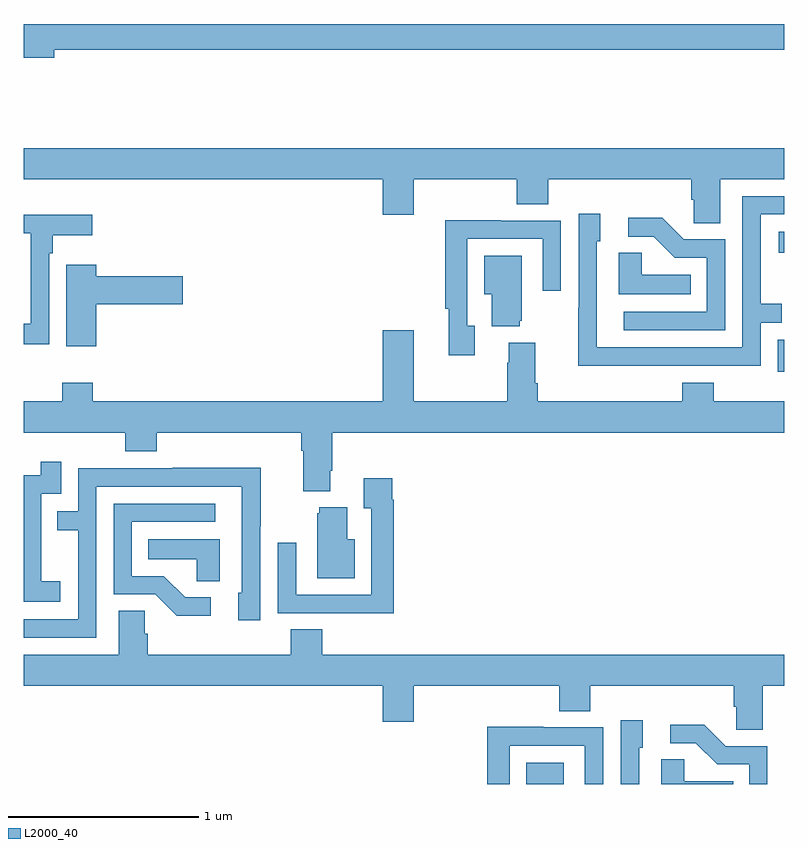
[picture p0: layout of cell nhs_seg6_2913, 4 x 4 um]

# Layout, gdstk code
import gdstk
lib = gdstk.Library(unit=1e-6, precision=1e-09)
def R(c, l, rs):  # rectangles x0, y0, x1, y1
    for r in rs: c.add(gdstk.rectangle(r[:2], r[2:], *l))
def P(c, l, *ps):  # polygons
    for p in ps: c.add(gdstk.Polygon(p, *l))
L2000_40 = (2000, 40)

nhs_seg6_2913 = lib.new_cell('nhs_seg6_2913')
R(nhs_seg6_2913, L2000_40, [(285.644,933.5,285.841,933.613), (286.965,935.667,287,935.835), (286.971,936.293,287,936.403)])
P(nhs_seg6_2913, L2000_40, [(283.162,937.36),(287,937.36),(287,937.496),(283,937.496),(283,937.318),(283.162,937.318)],
  [(286.663,936.68),(287,936.68),(287,936.844),(283,936.844),(283,936.68),(284.888,936.68),(284.888,936.492),(285.052,936.492),(285.052,936.68),(285.593,936.68),(285.593,936.547),(285.758,936.547),(285.758,936.68),(286.511,936.68),(286.511,936.571),(286.524,936.571),(286.524,936.448),(286.663,936.448)],
  [(286.379,935.7),(286.875,935.7),(286.875,935.925),(286.985,935.925),(286.985,936.026),(286.875,936.026),(286.875,936.495),(287,936.495),(287,936.591),(286.779,936.591),(286.779,935.796),(286.014,935.796),(286.014,936.354),(286.033,936.354),(286.033,936.499),(285.918,936.499),(285.918,936.005),(285.916,936.005),(285.916,935.699),(286.379,935.699)],
  [(283.134,936.29),(283.154,936.29),(283.154,936.386),(283.36,936.386),(283.36,936.494),(283,936.494),(283,936.396),(283.038,936.396),(283.038,935.919),(283,935.919),(283,935.811),(283.134,935.811)],
  [(286.689,936.363),(286.47,936.363),(286.357,936.476),(286.179,936.476),(286.179,936.378),(286.313,936.378),(286.424,936.267),(286.593,936.267),(286.593,935.982),(286.155,935.982),(286.155,935.886),(286.689,935.886)],
  [(285.373,935.91),(285.333,935.91),(285.333,936.366),(285.729,936.366),(285.729,936.093),(285.825,936.093),(285.825,936.462),(285.509,936.462),(285.509,936.464),(285.217,936.464),(285.217,935.998),(285.236,935.998),(285.236,935.754),(285.373,935.754)],
  [(286.508,936.178),(286.251,936.178),(286.251,936.293),(286.13,936.293),(286.13,936.074),(286.508,936.074)],
  [(285.608,935.937),(285.619,935.937),(285.619,936.277),(285.422,936.277),(285.422,936.074),(285.461,936.074),(285.461,935.906),(285.608,935.906)],
  [(283.382,936.023),(283.837,936.023),(283.837,936.17),(283.382,936.17),(283.382,936.229),(283.223,936.229),(283.223,935.802),(283.382,935.802)],
  [(284.611,935.146),(284.624,935.146),(284.624,935.348),(287,935.348),(287,935.512),(286.628,935.512),(286.628,935.611),(286.463,935.611),(286.463,935.512),(285.704,935.512),(285.704,935.608),(285.691,935.608),(285.691,935.821),(285.551,935.821),(285.551,935.714),(285.544,935.714),(285.544,935.512),(285.052,935.512),(285.052,935.887),(284.888,935.887),(284.888,935.512),(283.364,935.512),(283.364,935.611),(283.204,935.611),(283.204,935.512),(283,935.512),(283,935.348),(283.535,935.348),(283.535,935.249),(283.7,935.249),(283.7,935.348),(284.459,935.348),(284.459,935.252),(284.471,935.252),(284.471,935.039),(284.611,935.039)],
  [(283.192,934.567),(283.094,934.567),(283.094,934.796),(283.092,934.796),(283.092,935.025),(283.197,935.025),(283.197,935.194),(283.089,935.194),(283.089,935.124),(283,935.124),(283,934.457),(283.192,934.457)],
  [(283.383,935.064),(284.148,935.064),(284.148,934.506),(284.129,934.506),(284.129,934.362),(284.244,934.362),(284.244,934.855),(284.247,934.855),(284.247,935.162),(283.783,935.162),(283.783,935.16),(283.287,935.16),(283.287,934.935),(283.177,934.935),(283.177,934.834),(283.287,934.834),(283.287,934.365),(283,934.365),(283,934.269),(283.383,934.269)],
  [(284.945,934.994),(284.938,934.994),(284.938,935.107),(284.789,935.107),(284.789,934.951),(284.829,934.951),(284.829,934.494),(284.433,934.494),(284.433,934.768),(284.337,934.768),(284.337,934.398),(284.653,934.398),(284.653,934.397),(284.945,934.397)],
  [(283.984,934.482),(283.849,934.482),(283.738,934.593),(283.569,934.593),(283.569,934.878),(284.008,934.878),(284.008,934.974),(283.473,934.974),(283.473,934.497),(283.692,934.497),(283.805,934.385),(283.984,934.385)],
  [(284.74,934.786),(284.701,934.786),(284.701,934.954),(284.555,934.954),(284.555,934.923),(284.543,934.923),(284.543,934.583),(284.74,934.583)],
  [(284.032,934.786),(283.654,934.786),(283.654,934.682),(283.911,934.682),(283.911,934.567),(284.032,934.567)],
  [(286.885,934.016),(287,934.016),(287,934.18),(284.57,934.18),(284.57,934.313),(284.405,934.313),(284.405,934.18),(283.652,934.18),(283.652,934.289),(283.638,934.289),(283.638,934.412),(283.499,934.412),(283.499,934.18),(283,934.18),(283,934.016),(284.888,934.016),(284.888,933.828),(285.052,933.828),(285.052,934.016),(285.815,934.016),(285.815,933.883),(285.98,933.883),(285.98,934.016),(286.733,934.016),(286.733,933.907),(286.746,933.907),(286.746,933.784),(286.885,933.784)],
  [(286.236,933.69),(286.255,933.69),(286.255,933.835),(286.14,933.835),(286.14,933.5),(286.236,933.5)],
  [(286.911,933.699),(286.692,933.699),(286.579,933.812),(286.401,933.812),(286.401,933.714),(286.535,933.714),(286.646,933.603),(286.815,933.603),(286.815,933.5),(286.911,933.5)],
  [(285.555,933.702),(285.951,933.702),(285.951,933.5),(286.047,933.5),(286.047,933.798),(285.731,933.798),(285.731,933.8),(285.439,933.8),(285.439,933.5),(285.555,933.5)],
  [(286.73,933.514),(286.473,933.514),(286.473,933.629),(286.352,933.629),(286.352,933.5),(286.73,933.5)])

lib.write_gds('nhs_seg6_2913.gds')
